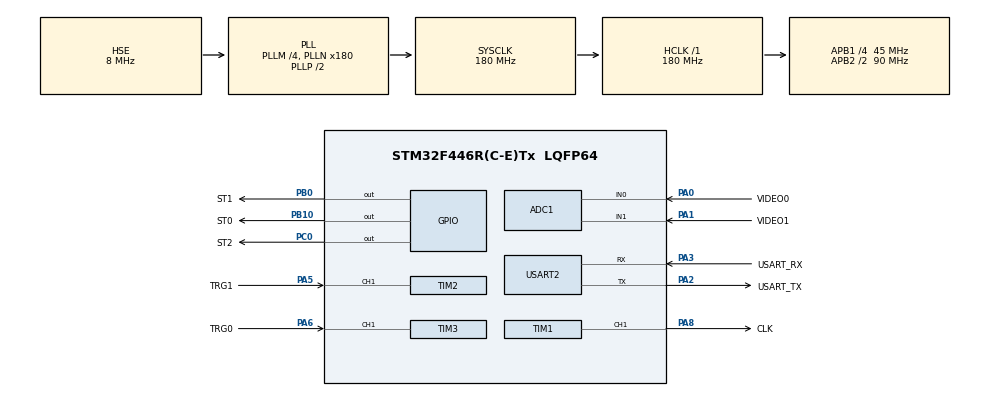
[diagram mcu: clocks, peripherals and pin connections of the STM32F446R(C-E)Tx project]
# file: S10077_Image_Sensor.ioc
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ADC1.Channel-0\#ChannelRegularConversion=ADC_CHANNEL_1
ADC1.ExternalTrigConv=ADC_EXTERNALTRIGCONV_T3_TRGO
ADC1.ExternalTrigConvEdge=ADC_EXTERNALTRIGCONVEDGE_FALLING
ADC1.NbrOfConversion=1
ADC1.NbrOfConversionFlag=1
ADC1.Rank-0\#ChannelRegularConversion=1
ADC1.SamplingTime-0\#ChannelRegularConversion=ADC_SAMPLETIME_28CYCLES
ADC1.master=1
Dma.ADC1.0.Direction=DMA_PERIPH_TO_MEMORY
Dma.ADC1.0.FIFOMode=DMA_FIFOMODE_DISABLE
Dma.ADC1.0.Instance=DMA2_Stream0
Dma.ADC1.0.MemDataAlignment=DMA_MDATAALIGN_HALFWORD
Dma.ADC1.0.MemInc=DMA_MINC_ENABLE
Dma.ADC1.0.Mode=DMA_NORMAL
Dma.ADC1.0.PeriphDataAlignment=DMA_PDATAALIGN_HALFWORD
Dma.ADC1.0.PeriphInc=DMA_PINC_DISABLE
Dma.ADC1.0.Priority=DMA_PRIORITY_LOW
Dma.Request0=ADC1
Mcu.Family=STM32F4
Mcu.Name=STM32F446R(C-E)Tx
Mcu.Package=LQFP64
NVIC.DMA2_Stream0_IRQn=true\:0\:0\:false\:false\:true\:false\:true\:true
NVIC.PriorityGroup=NVIC_PRIORITYGROUP_0
PA0-WKUP.GPIO_Label=VIDEO0
PA0-WKUP.Signal=ADCx_IN0
PA1.GPIO_Label=VIDEO1
PA1.Signal=ADCx_IN1
PA13.GPIO_Label=TMS
PA13.Mode=Serial_Wire
PA13.Signal=SYS_JTMS-SWDIO
PA14.GPIO_Label=TCK
PA14.Mode=Serial_Wire
PA14.Signal=SYS_JTCK-SWCLK
PA2.GPIO_Label=USART_TX
PA2.Mode=Asynchronous
PA2.Signal=USART2_TX
PA3.GPIO_Label=USART_RX
PA3.Mode=Asynchronous
PA3.Signal=USART2_RX
PA5.GPIO_Label=TRG1
PA5.Signal=S_TIM2_CH1_ETR
PA6.GPIO_Label=TRG0
PA6.GPIO_PuPd=GPIO_PULLDOWN
PA6.Signal=S_TIM3_CH1
PA8.GPIO_Label=CLK
PA8.Signal=S_TIM1_CH1
PB0.GPIO_Label=ST1
PB0.Signal=GPIO_Output
PB10.GPIO_Label=ST0
PB10.GPIO_PuPd=GPIO_NOPULL
PB10.GPIO_Speed=GPIO_SPEED_FREQ_HIGH
PB10.PinState=GPIO_PIN_RESET
PB10.Signal=GPIO_Output
PB3.GPIO_Label=SWO
PB3.Signal=SYS_JTDO-SWO
PC0.GPIO_Label=ST2
PC0.Signal=GPIO_Output
PC14-OSC32_IN.Mode=LSE-External-Clock-Source
PC14-OSC32_IN.Signal=RCC_OSC32_IN
PC15-OSC32_OUT.Mode=LSE-External-Clock-Source
PC15-OSC32_OUT.Signal=RCC_OSC32_OUT
PH0-OSC_IN.Mode=HSE-External-Clock-Source
PH0-OSC_IN.Signal=RCC_OSC_IN
PH1-OSC_OUT.Mode=HSE-External-Clock-Source
PH1-OSC_OUT.Signal=RCC_OSC_OUT
ProjectManager.HeapSize=0x200
ProjectManager.StackSize=0x400
ProjectManager.TargetToolchain=STM32CubeIDE
RCC.AHBFreq_Value=180000000
RCC.APB1CLKDivider=RCC_HCLK_DIV4
RCC.APB1Freq_Value=45000000
RCC.APB1TimFreq_Value=90000000
RCC.APB2CLKDivider=RCC_HCLK_DIV2
RCC.APB2Freq_Value=90000000
RCC.APB2TimFreq_Value=180000000
RCC.CortexFreq_Value=180000000
RCC.FLatency-AdvancedSettings=FLASH_LATENCY_5
RCC.HCLKFreq_Value=180000000
RCC.HSE_VALUE=8000000
RCC.HSI_VALUE=16000000
RCC.LSE_VALUE=32768
RCC.PLLM=4
RCC.PLLN=180
RCC.PLLSourceVirtual=RCC_PLLSOURCE_HSE
RCC.SYSCLKFreq_VALUE=180000000
RCC.SYSCLKSource=RCC_SYSCLKSOURCE_PLLCLK
RCC.USBFreq_Value=180000000
RCC.VCOOutputFreq_Value=360000000
SH.ADCx_IN0.0=ADC3_IN0
SH.ADCx_IN0.1=ADC2_IN0
SH.ADCx_IN0.2=ADC1_IN0,IN0
SH.ADCx_IN1.0=ADC1_IN1,IN1
SH.ADCx_IN1.1=ADC2_IN1
SH.S_TIM1_CH1.0=TIM1_CH1,PWM Generation1 CH1
SH.S_TIM2_CH1_ETR.0=TIM2_CH1,TriggerSource_TI1FP1
SH.S_TIM2_CH1_ETR.1=TIM2_CH1,Input_Capture1_from_TI1
SH.S_TIM3_CH1.0=TIM3_CH1,TriggerSource_TI1FP1
SH.S_TIM3_CH1.1=TIM3_CH1,Input_Capture1_from_TI1
TIM1.Channel-PWM\ Generation1\ CH1=TIM_CHANNEL_1
TIM1.Period=360-1
TIM1.Pulse-PWM\ Generation1\ CH1=180
TIM2.Channel-Input_Capture1_from_TI1=TIM_CHANNEL_1
TIM2.ICPolarity_CH1=TIM_INPUTCHANNELPOLARITY_FALLING
TIM2.TIM_MasterOutputTrigger=TIM_TRGO_UPDATE
TIM3.Channel-Input_Capture1_from_TI1=TIM_CHANNEL_1
TIM3.ICPolarity_CH1=TIM_INPUTCHANNELPOLARITY_FALLING
TIM3.Period=65535
TIM3.TIM_MasterOutputTrigger=TIM_TRGO_UPDATE
USART2.VirtualMode=VM_ASYNC
VP_TIM1_VS_ClockSourceINT.Mode=Internal
VP_TIM2_VS_ClockSourceINT.Mode=Internal
VP_TIM2_VS_ControllerModeReset.Mode=Reset Mode
VP_TIM3_VS_ClockSourceINT.Mode=Internal
VP_TIM3_VS_ControllerModeReset.Mode=Reset Mode
board=NUCLEO-F446RE

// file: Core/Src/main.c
/* USER CODE BEGIN Header */
/**
  ******************************************************************************
  * @file           : main.c
  * @brief          : Main program body
  ******************************************************************************
  * @attention
  *
  * Copyright (c) 2025 STMicroelectronics.
  * All rights reserved.
  *
  * This software is licensed under terms that can be found in the LICENSE file
  * in the root directory of this software component.
  * If no LICENSE file comes with this software, it is provided AS-IS.
  *
  ******************************************************************************
  */
/* USER CODE END Header */
#include "main.h"

/* USER CODE BEGIN Includes */
#include "s10077_driver.h"
/* USER CODE END Includes */

ADC_HandleTypeDef hadc1;
DMA_HandleTypeDef hdma_adc1;

TIM_HandleTypeDef htim1;
TIM_HandleTypeDef htim2;
TIM_HandleTypeDef htim3;

UART_HandleTypeDef huart2;

/* USER CODE BEGIN PV */

// --- User Configuration ---
#define SENSORS_IN_USE 2 // We are using only one sensor now.

// Sensor Configuration Array
const S10077_SensorConfig sensor_configs[SENSORS_IN_USE] = {
    // Sensor 0 (handled by TIM3)
	  {
		.adc_handle         = &hadc1,
		.adc_channel        = ADC_CHANNEL_0,
		.trig_tim_handle    = &htim3,
		.adc_extsel_trigger = ADC_EXTERNALTRIGCONV_T3_TRGO,
		.st_port            = ST0_GPIO_Port,
		.st_pin             = ST0_Pin
	  },
//    // Sensor 1 (handled by TIM2)
	  {
		.adc_handle         = &hadc1,
		.adc_channel        = ADC_CHANNEL_1,
		.trig_tim_handle    = &htim2,
		.adc_extsel_trigger = ADC_EXTERNALTRIGCONV_T2_TRGO,
		.st_port            = ST1_GPIO_Port,
		.st_pin             = ST1_Pin
	  },
//    // Sensor 2 (handled by TIM8)
//	  {
//		.adc_handle         = &hadc1,
//		.adc_channel        = ADC_CHANNEL_1,
//		.trig_tim_handle    = &htim8,
//		.adc_extsel_trigger = ADC_EXTERNALTRIGCONV_T8_TRGO,
//		.st_port            = ST2_GPIO_Port,
//		.st_pin             = ST2_Pin
//	  },
};

/* USER CODE END PV */

void SystemClock_Config(void);
static void MX_GPIO_Init(void);
static void MX_DMA_Init(void);
static void MX_ADC1_Init(void);
static void MX_TIM1_Init(void);
static void MX_TIM3_Init(void);
static void MX_USART2_UART_Init(void);
static void MX_TIM2_Init(void);

int main(void)
{

  /* MCU Configuration--------------------------------------------------------*/

  /* Reset of all peripherals, Initializes the Flash interface and the Systick. */
  HAL_Init();

  /* Configure the system clock */
  SystemClock_Config();

  /* Initialize all configured peripherals */
  MX_GPIO_Init();
  MX_DMA_Init();
  MX_ADC1_Init();
  MX_TIM1_Init();
  MX_TIM3_Init();
  MX_USART2_UART_Init();
  MX_TIM2_Init();
  /* USER CODE BEGIN 2 */
  // Initialize the S10077 driver system with all necessary handles and configurations.
  // (JP) S10077ドライバシステムを�?�必要なすべてのハンドルと設定で初期化します�???????
  S10077_System_Init(sensor_configs, SENSORS_IN_USE, &htim1, &huart2);
  HAL_UART_Transmit(&huart2, (uint8_t*)"Multi-Sensor System Ready.\n", 27, HAL_MAX_DELAY);

  /* USER CODE END 2 */

  /* Infinite loop */
  while (1)
  {

    /* USER CODE BEGIN 3 */
	for (int i = 0; i < SENSORS_IN_USE; i++)
	{
		S10077_StartAcquisition(i);
		while (!S10077_IsDataReady()){}
		S10077_PrintDataViaUART();
		HAL_Delay(50);
	}
  }
  /* USER CODE END 3 */
}

void SystemClock_Config(void)
{
  RCC_OscInitTypeDef RCC_OscInitStruct = {0};
  RCC_ClkInitTypeDef RCC_ClkInitStruct = {0};

  /** Configure the main internal regulator output voltage
  */
  __HAL_RCC_PWR_CLK_ENABLE();
  __HAL_PWR_VOLTAGESCALING_CONFIG(PWR_REGULATOR_VOLTAGE_SCALE1);

  /** Initializes the RCC Oscillators according to the specified parameters
  * in the RCC_OscInitTypeDef structure.
  */
  RCC_OscInitStruct.OscillatorType = RCC_OSCILLATORTYPE_HSE;
  RCC_OscInitStruct.HSEState = RCC_HSE_BYPASS;
  RCC_OscInitStruct.PLL.PLLState = RCC_PLL_ON;
  RCC_OscInitStruct.PLL.PLLSource = RCC_PLLSOURCE_HSE;
  RCC_OscInitStruct.PLL.PLLM = 4;
  RCC_OscInitStruct.PLL.PLLN = 180;
  RCC_OscInitStruct.PLL.PLLP = RCC_PLLP_DIV2;
  RCC_OscInitStruct.PLL.PLLQ = 2;
  RCC_OscInitStruct.PLL.PLLR = 2;
  if (HAL_RCC_OscConfig(&RCC_OscInitStruct) != HAL_OK)
  {
    Error_Handler();
  }

  /** Activate the Over-Drive mode
  */
  if (HAL_PWREx_EnableOverDrive() != HAL_OK)
  {
    Error_Handler();
  }

  /** Initializes the CPU, AHB and APB buses clocks
  */
  RCC_ClkInitStruct.ClockType = RCC_CLOCKTYPE_HCLK|RCC_CLOCKTYPE_SYSCLK
                              |RCC_CLOCKTYPE_PCLK1|RCC_CLOCKTYPE_PCLK2;
  RCC_ClkInitStruct.SYSCLKSource = RCC_SYSCLKSOURCE_PLLCLK;
  RCC_ClkInitStruct.AHBCLKDivider = RCC_SYSCLK_DIV1;
  RCC_ClkInitStruct.APB1CLKDivider = RCC_HCLK_DIV4;
  RCC_ClkInitStruct.APB2CLKDivider = RCC_HCLK_DIV2;

  if (HAL_RCC_ClockConfig(&RCC_ClkInitStruct, FLASH_LATENCY_5) != HAL_OK)
  {
    Error_Handler();
  }
}

static void MX_ADC1_Init(void)
{

  ADC_ChannelConfTypeDef sConfig = {0};

  /** Configure the global features of the ADC (Clock, Resolution, Data Alignment and number of conversion)
  */
  hadc1.Instance = ADC1;
  hadc1.Init.ClockPrescaler = ADC_CLOCK_SYNC_PCLK_DIV4;
  hadc1.Init.Resolution = ADC_RESOLUTION_12B;
  hadc1.Init.ScanConvMode = DISABLE;
  hadc1.Init.ContinuousConvMode = DISABLE;
  hadc1.Init.DiscontinuousConvMode = DISABLE;
  hadc1.Init.ExternalTrigConvEdge = ADC_EXTERNALTRIGCONVEDGE_FALLING;
  hadc1.Init.ExternalTrigConv = ADC_EXTERNALTRIGCONV_T3_TRGO;
  hadc1.Init.DataAlign = ADC_DATAALIGN_RIGHT;
  hadc1.Init.NbrOfConversion = 1;
  hadc1.Init.DMAContinuousRequests = DISABLE;
  hadc1.Init.EOCSelection = ADC_EOC_SINGLE_CONV;
  if (HAL_ADC_Init(&hadc1) != HAL_OK)
  {
    Error_Handler();
  }

  /** Configure for the selected ADC regular channel its corresponding rank in the sequencer and its sample time.
  */
  sConfig.Channel = ADC_CHANNEL_1;
  sConfig.Rank = 1;
  sConfig.SamplingTime = ADC_SAMPLETIME_28CYCLES;
  if (HAL_ADC_ConfigChannel(&hadc1, &sConfig) != HAL_OK)
  {
    Error_Handler();
  }

}

static void MX_TIM1_Init(void)
{

  TIM_ClockConfigTypeDef sClockSourceConfig = {0};
  TIM_MasterConfigTypeDef sMasterConfig = {0};
  TIM_OC_InitTypeDef sConfigOC = {0};
  TIM_BreakDeadTimeConfigTypeDef sBreakDeadTimeConfig = {0};

  htim1.Instance = TIM1;
  htim1.Init.Prescaler = 0;
  htim1.Init.CounterMode = TIM_COUNTERMODE_UP;
  htim1.Init.Period = 360-1;
  htim1.Init.ClockDivision = TIM_CLOCKDIVISION_DIV1;
  htim1.Init.RepetitionCounter = 0;
  htim1.Init.AutoReloadPreload = TIM_AUTORELOAD_PRELOAD_DISABLE;
  if (HAL_TIM_Base_Init(&htim1) != HAL_OK)
  {
    Error_Handler();
  }
  sClockSourceConfig.ClockSource = TIM_CLOCKSOURCE_INTERNAL;
  if (HAL_TIM_ConfigClockSource(&htim1, &sClockSourceConfig) != HAL_OK)
  {
    Error_Handler();
  }
  if (HAL_TIM_PWM_Init(&htim1) != HAL_OK)
  {
    Error_Handler();
  }
  sMasterConfig.MasterOutputTrigger = TIM_TRGO_RESET;
  sMasterConfig.MasterSlaveMode = TIM_MASTERSLAVEMODE_DISABLE;
  if (HAL_TIMEx_MasterConfigSynchronization(&htim1, &sMasterConfig) != HAL_OK)
  {
    Error_Handler();
  }
  sConfigOC.OCMode = TIM_OCMODE_PWM1;
  sConfigOC.Pulse = 180;
  sConfigOC.OCPolarity = TIM_OCPOLARITY_HIGH;
  sConfigOC.OCNPolarity = TIM_OCNPOLARITY_HIGH;
  sConfigOC.OCFastMode = TIM_OCFAST_DISABLE;
  sConfigOC.OCIdleState = TIM_OCIDLESTATE_RESET;
  sConfigOC.OCNIdleState = TIM_OCNIDLESTATE_RESET;
  if (HAL_TIM_PWM_ConfigChannel(&htim1, &sConfigOC, TIM_CHANNEL_1) != HAL_OK)
  {
    Error_Handler();
  }
  sBreakDeadTimeConfig.OffStateRunMode = TIM_OSSR_DISABLE;
  sBreakDeadTimeConfig.OffStateIDLEMode = TIM_OSSI_DISABLE;
  sBreakDeadTimeConfig.LockLevel = TIM_LOCKLEVEL_OFF;
  sBreakDeadTimeConfig.DeadTime = 0;
  sBreakDeadTimeConfig.BreakState = TIM_BREAK_DISABLE;
  sBreakDeadTimeConfig.BreakPolarity = TIM_BREAKPOLARITY_HIGH;
  sBreakDeadTimeConfig.AutomaticOutput = TIM_AUTOMATICOUTPUT_DISABLE;
  if (HAL_TIMEx_ConfigBreakDeadTime(&htim1, &sBreakDeadTimeConfig) != HAL_OK)
  {
    Error_Handler();
  }
  HAL_TIM_MspPostInit(&htim1);

}

static void MX_TIM2_Init(void)
{

  TIM_ClockConfigTypeDef sClockSourceConfig = {0};
  TIM_SlaveConfigTypeDef sSlaveConfig = {0};
  TIM_MasterConfigTypeDef sMasterConfig = {0};
  TIM_IC_InitTypeDef sConfigIC = {0};

  htim2.Instance = TIM2;
  htim2.Init.Prescaler = 0;
  htim2.Init.CounterMode = TIM_COUNTERMODE_UP;
  htim2.Init.Period = 4294967295;
  htim2.Init.ClockDivision = TIM_CLOCKDIVISION_DIV1;
  htim2.Init.AutoReloadPreload = TIM_AUTORELOAD_PRELOAD_DISABLE;
  if (HAL_TIM_Base_Init(&htim2) != HAL_OK)
  {
    Error_Handler();
  }
  sClockSourceConfig.ClockSource = TIM_CLOCKSOURCE_INTERNAL;
  if (HAL_TIM_ConfigClockSource(&htim2, &sClockSourceConfig) != HAL_OK)
  {
    Error_Handler();
  }
  if (HAL_TIM_IC_Init(&htim2) != HAL_OK)
  {
    Error_Handler();
  }
  sSlaveConfig.SlaveMode = TIM_SLAVEMODE_RESET;
  sSlaveConfig.InputTrigger = TIM_TS_TI1FP1;
  sSlaveConfig.TriggerPolarity = TIM_INPUTCHANNELPOLARITY_FALLING;
  sSlaveConfig.TriggerFilter = 0;
  if (HAL_TIM_SlaveConfigSynchro(&htim2, &sSlaveConfig) != HAL_OK)
  {
    Error_Handler();
  }
  sMasterConfig.MasterOutputTrigger = TIM_TRGO_UPDATE;
  sMasterConfig.MasterSlaveMode = TIM_MASTERSLAVEMODE_DISABLE;
  if (HAL_TIMEx_MasterConfigSynchronization(&htim2, &sMasterConfig) != HAL_OK)
  {
    Error_Handler();
  }
  sConfigIC.ICPolarity = TIM_INPUTCHANNELPOLARITY_FALLING;
  sConfigIC.ICSelection = TIM_ICSELECTION_DIRECTTI;
  sConfigIC.ICPrescaler = TIM_ICPSC_DIV1;
  sConfigIC.ICFilter = 0;
  if (HAL_TIM_IC_ConfigChannel(&htim2, &sConfigIC, TIM_CHANNEL_1) != HAL_OK)
  {
    Error_Handler();
  }

}

static void MX_TIM3_Init(void)
{

  TIM_ClockConfigTypeDef sClockSourceConfig = {0};
  TIM_SlaveConfigTypeDef sSlaveConfig = {0};
  TIM_MasterConfigTypeDef sMasterConfig = {0};
  TIM_IC_InitTypeDef sConfigIC = {0};

  htim3.Instance = TIM3;
  htim3.Init.Prescaler = 0;
  htim3.Init.CounterMode = TIM_COUNTERMODE_UP;
  htim3.Init.Period = 65535;
  htim3.Init.ClockDivision = TIM_CLOCKDIVISION_DIV1;
  htim3.Init.AutoReloadPreload = TIM_AUTORELOAD_PRELOAD_DISABLE;
  if (HAL_TIM_Base_Init(&htim3) != HAL_OK)
  {
    Error_Handler();
  }
  sClockSourceConfig.ClockSource = TIM_CLOCKSOURCE_INTERNAL;
  if (HAL_TIM_ConfigClockSource(&htim3, &sClockSourceConfig) != HAL_OK)
  {
    Error_Handler();
  }
  if (HAL_TIM_IC_Init(&htim3) != HAL_OK)
  {
    Error_Handler();
  }
  sSlaveConfig.SlaveMode = TIM_SLAVEMODE_RESET;
  sSlaveConfig.InputTrigger = TIM_TS_TI1FP1;
  sSlaveConfig.TriggerPolarity = TIM_INPUTCHANNELPOLARITY_FALLING;
  sSlaveConfig.TriggerFilter = 0;
  if (HAL_TIM_SlaveConfigSynchro(&htim3, &sSlaveConfig) != HAL_OK)
  {
    Error_Handler();
  }
  sMasterConfig.MasterOutputTrigger = TIM_TRGO_UPDATE;
  sMasterConfig.MasterSlaveMode = TIM_MASTERSLAVEMODE_DISABLE;
  if (HAL_TIMEx_MasterConfigSynchronization(&htim3, &sMasterConfig) != HAL_OK)
  {
    Error_Handler();
  }
  sConfigIC.ICPolarity = TIM_INPUTCHANNELPOLARITY_FALLING;
  sConfigIC.ICSelection = TIM_ICSELECTION_DIRECTTI;
  sConfigIC.ICPrescaler = TIM_ICPSC_DIV1;
  sConfigIC.ICFilter = 0;
  if (HAL_TIM_IC_ConfigChannel(&htim3, &sConfigIC, TIM_CHANNEL_1) != HAL_OK)
  {
    Error_Handler();
  }

}

static void MX_USART2_UART_Init(void)
{

  huart2.Instance = USART2;
  huart2.Init.BaudRate = 115200;
  huart2.Init.WordLength = UART_WORDLENGTH_8B;
  huart2.Init.StopBits = UART_STOPBITS_1;
  huart2.Init.Parity = UART_PARITY_NONE;
  huart2.Init.Mode = UART_MODE_TX_RX;
  huart2.Init.HwFlowCtl = UART_HWCONTROL_NONE;
  huart2.Init.OverSampling = UART_OVERSAMPLING_16;
  if (HAL_UART_Init(&huart2) != HAL_OK)
  {
    Error_Handler();
  }

}

static void MX_DMA_Init(void)
{

  /* DMA controller clock enable */
  __HAL_RCC_DMA2_CLK_ENABLE();

  /* DMA interrupt init */
  /* DMA2_Stream0_IRQn interrupt configuration */
  HAL_NVIC_SetPriority(DMA2_Stream0_IRQn, 0, 0);
  HAL_NVIC_EnableIRQ(DMA2_Stream0_IRQn);

}

static void MX_GPIO_Init(void)
{
  GPIO_InitTypeDef GPIO_InitStruct = {0};

  /* GPIO Ports Clock Enable */
  __HAL_RCC_GPIOC_CLK_ENABLE();
  __HAL_RCC_GPIOH_CLK_ENABLE();
  __HAL_RCC_GPIOA_CLK_ENABLE();
  __HAL_RCC_GPIOB_CLK_ENABLE();

  /*Configure GPIO pin Output Level */
  HAL_GPIO_WritePin(ST2_GPIO_Port, ST2_Pin, GPIO_PIN_RESET);

  /*Configure GPIO pin Output Level */
  HAL_GPIO_WritePin(GPIOB, ST1_Pin|ST0_Pin, GPIO_PIN_RESET);

  /*Configure GPIO pin : ST2_Pin */
  GPIO_InitStruct.Pin = ST2_Pin;
  GPIO_InitStruct.Mode = GPIO_MODE_OUTPUT_PP;
  GPIO_InitStruct.Pull = GPIO_NOPULL;
  GPIO_InitStruct.Speed = GPIO_SPEED_FREQ_LOW;
  HAL_GPIO_Init(ST2_GPIO_Port, &GPIO_InitStruct);

  /*Configure GPIO pins : VIDEO0_Pin VIDEO1_Pin */
  GPIO_InitStruct.Pin = VIDEO0_Pin|VIDEO1_Pin;
  GPIO_InitStruct.Mode = GPIO_MODE_ANALOG;
  GPIO_InitStruct.Pull = GPIO_NOPULL;
  HAL_GPIO_Init(GPIOA, &GPIO_InitStruct);

  /*Configure GPIO pin : ST1_Pin */
  GPIO_InitStruct.Pin = ST1_Pin;
  GPIO_InitStruct.Mode = GPIO_MODE_OUTPUT_PP;
  GPIO_InitStruct.Pull = GPIO_NOPULL;
  GPIO_InitStruct.Speed = GPIO_SPEED_FREQ_LOW;
  HAL_GPIO_Init(ST1_GPIO_Port, &GPIO_InitStruct);

  /*Configure GPIO pin : ST0_Pin */
  GPIO_InitStruct.Pin = ST0_Pin;
  GPIO_InitStruct.Mode = GPIO_MODE_OUTPUT_PP;
  GPIO_InitStruct.Pull = GPIO_NOPULL;
  GPIO_InitStruct.Speed = GPIO_SPEED_FREQ_HIGH;
  HAL_GPIO_Init(ST0_GPIO_Port, &GPIO_InitStruct);

}

void Error_Handler(void)
{
  __disable_irq();
  while (1)
  {
  }
}
